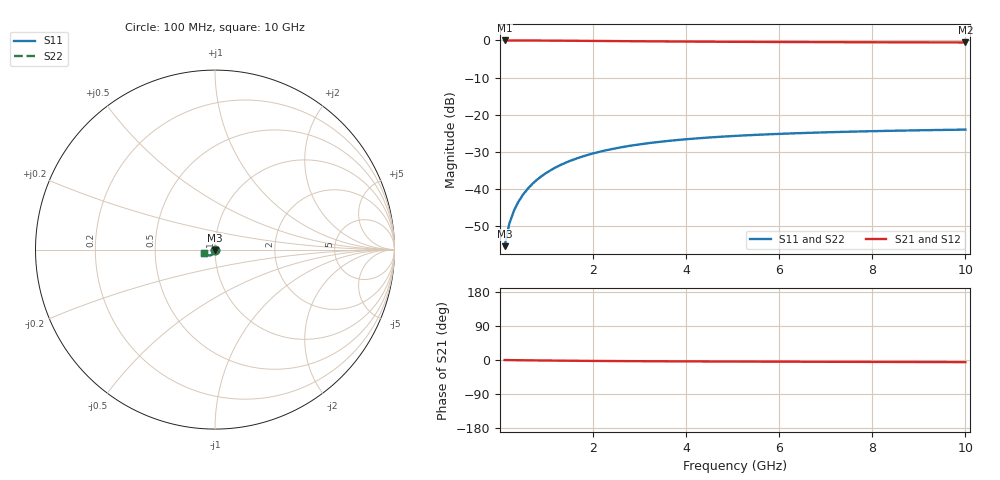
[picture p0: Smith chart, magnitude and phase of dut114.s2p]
! Touchstone file exported from HFSS 2024.1.0
!  File:  C:/UserFiles/LocalFiles/RDL_TSV_Batchsim/temp_TSV1_114_1779378184.aedt
!  Generated:  11:51:38 PM May 21, 2026
!  Design:  TSV1
!  Project:  temp_TSV1_114_1779378184
!  Setup:  Setup1
!  Solution:  Sweep
! Variables:
!  dtsv = 12.35um
!  hbump = 3um
!  htsv = 88.31um
!  lrdl = 252.1521522um
!  p = 40
!  p1 = 45.27um
!  t = 500um
!  trdl = 3um
!  wrdl = 24.89489489um
# GHz S MA R 50.000000
! Terminal data exported
! Port[1] = TSV22_T1
! Port[2] = TSV22_T2
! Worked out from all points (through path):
!   100 points, 100 MHz to 10 GHz, reference 50 ohm
!   highest |S21| = 0.00 dB at 100 MHz (marker M1); lowest = -0.5 dB at 10 GHz (marker M2)
!   lowest |S11| = -55.3 dB at 100 MHz (marker M3), VSWR 1.00, Z = 50 - j0.171 ohm
!   |S11| at or under -10 dB: start of sweep to end of sweep
!   |S22| runs from -55.3 to -24.0 dB; largest |S21 - S12| = 5.3e-15
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0.1  0.001708 -88.1  0.9998 -0.1  0.9998 -0.1  0.001708 -88.1
! Gamma 0 0 0 0
! Port Impedance 50 0 50 0
0.2  0.003413 -91.2  0.9997 -0.3  0.9997 -0.3  0.003413 -91.2
0.3  0.005118 -93.3  0.9994 -0.4  0.9994 -0.4  0.005118 -93.3
0.4  0.006817 -95.1  0.9991 -0.6  0.9991 -0.6  0.006817 -95.1
0.5  0.008503 -96.8  0.9987 -0.7  0.9987 -0.7  0.008503 -96.8
0.6  0.01017 -98.5  0.9982 -0.8  0.9982 -0.8  0.01017 -98.5
0.7  0.01182 -100.1  0.9976 -1.0  0.9976 -1.0  0.01182 -100.1
0.8  0.01344 -101.7  0.9969 -1.1  0.9969 -1.1  0.01344 -101.7
0.9  0.01504 -103.3  0.9962 -1.2  0.9962 -1.2  0.01504 -103.3
1.1  0.01813 -106.3  0.9946 -1.5  0.9946 -1.5  0.01813 -106.3
1.4  0.0225 -110.7  0.9918 -1.8  0.9918 -1.8  0.0225 -110.7
1.6  0.02522 -113.4  0.9898 -2.0  0.9898 -2.0  0.02522 -113.4
1.8  0.02778 -116.0  0.9877 -2.2  0.9877 -2.2  0.02778 -116.0
2.1  0.03133 -119.6  0.9845 -2.5  0.9845 -2.5  0.03133 -119.6
2.5  0.03553 -124.1  0.9802 -2.8  0.9802 -2.8  0.03553 -124.1
2.9  0.03917 -128.1  0.976 -3.1  0.976 -3.1  0.03917 -128.1
3.4  0.04304 -132.5  0.9712 -3.4  0.9712 -3.4  0.04304 -132.5
4.2  0.04798 -138.5  0.9644 -3.7  0.9644 -3.7  0.04798 -138.5
5.1  0.05218 -144.0  0.9582 -4.1  0.9582 -4.1  0.05218 -144.0
6.7  0.05734 -151.5  0.95 -4.6  0.95 -4.6  0.05734 -151.5
8.4  0.06089 -157.4  0.944 -5.2  0.944 -5.2  0.06089 -157.4
10  0.06318 -161.8  0.94 -5.7  0.94 -5.7  0.06318 -161.8
